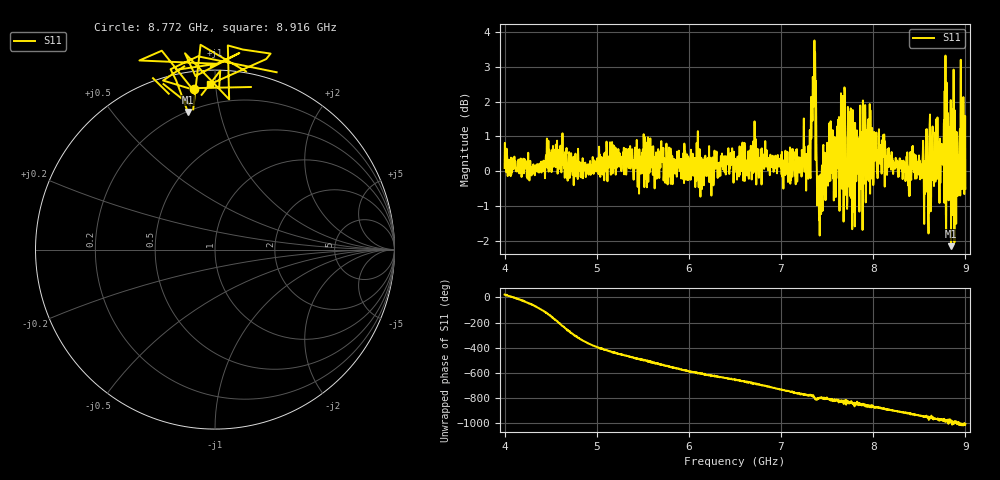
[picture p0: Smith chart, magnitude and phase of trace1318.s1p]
! Created with skrf 1.8.0 (http://scikit-rf.org).
# Hz S RI R 50.0
!freq ReS11 ImS11
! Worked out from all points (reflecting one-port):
!   1601 points, 4 GHz to 9 GHz, reference 50 ohm
!   lowest |S11| = -2.1 dB at 8.844 GHz (marker M1), VSWR 8.13, Z = 10.2 + j40.1 ohm
!   phase of S11 starts at 22 deg and turns -1025 deg over the sweep
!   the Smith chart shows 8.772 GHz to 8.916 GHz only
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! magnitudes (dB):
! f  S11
! 4 GHz  0.1
! 4.266 GHz  0.1
! 4.625 GHz  0.4
! 4.919 GHz  0.0
! 5.25 GHz  0.5
! 5.875 GHz  0.1
! 6.5 GHz  0.3
! 7.125 GHz  0.2
! 7.294 GHz  -0.2
! 7.356 GHz  2.6
! 7.412 GHz  -1.4
! 7.481 GHz  -0.8
! 7.544 GHz  0.6
! 7.591 GHz  0.0
! 7.675 GHz  1.6
! 7.697 GHz  1.0
! 7.75 GHz  -0.7
! 7.775 GHz  1.1
! 7.834 GHz  0.6
! 7.966 GHz  -0.6
! 8.375 GHz  0.2
! 8.441 GHz  0.0
! 8.575 GHz  1.2
! 8.759 GHz  0.3
! 8.844 GHz  -2.1
! 8.906 GHz  1.0
! 8.959 GHz  2.1
! 9 GHz  -0.5
